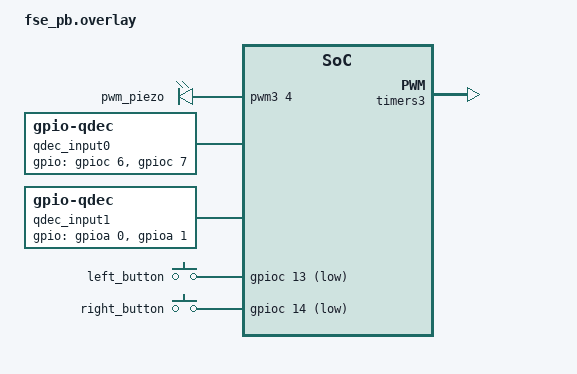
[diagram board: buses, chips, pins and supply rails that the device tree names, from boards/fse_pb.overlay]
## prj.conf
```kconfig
###############################
#           Zephyr            #
###############################
# 4096 reicht bei Arm Cortex A53 nicht
CONFIG_MAIN_STACK_SIZE=8192

CONFIG_DISPLAY=y

CONFIG_INPUT=y
CONFIG_SENSOR=y
CONFIG_GPIO=y
CONFIG_INPUT_GPIO_QDEC=y

CONFIG_SHELL=y
CONFIG_SERIAL=y
CONFIG_UART_CONSOLE=y
CONFIG_CONSOLE=y

CONFIG_PRINTK=y
CONFIG_STDOUT_CONSOLE=y

#
# Logs
#
CONFIG_LOG=y
CONFIG_LOG_DEFAULT_LEVEL=3
CONFIG_LOG_MODE_DEFERRED=y

CONFIG_DISPLAY_LOG_LEVEL_ERR=y

#
# CPU Usage Report
#
CONFIG_THREAD_RUNTIME_STATS=y
CONFIG_CPU_LOAD=y
CONFIG_CPU_LOAD_LOG_PERIODICALLY=1000

###############################
#            LVGL             #
###############################
CONFIG_LVGL=y

CONFIG_LV_Z_MEM_POOL_SIZE=32768
CONFIG_LV_Z_SHELL=y

CONFIG_LV_USE_LOG=y

#
# Widgets
# 
CONFIG_LV_USE_LABEL=y
CONFIG_LV_USE_BUTTON=y
CONFIG_LV_USE_SLIDER=y
CONFIG_LV_USE_SPAN=y

#
# Inputs
#
CONFIG_LV_Z_ENCODER_INPUT=y
CONFIG_LV_Z_KEYPAD_INPUT=y
```

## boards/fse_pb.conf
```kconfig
CONFIG_LV_Z_ENCODER_INPUT=y
CONFIG_PWM=y
```

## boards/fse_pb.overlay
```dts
#include <zephyr/dt-bindings/input/input-event-codes.h>
#include <zephyr/dt-bindings/lvgl/lvgl.h>

/ {
    aliases {
        qdec-input-left = &lvgl_encoder0;
        qdec-input-right = &lvgl_encoder1;
        keypad-left = &keypad_left;
        keypad-right = &keypad_right;
        pwm-pizeo = &pwm_piezo;
    };

    pwmleds {
		compatible = "pwm-leds";

		pwm_piezo: pwm_piezo {
			pwms = <&pwm3 4 PWM_MSEC(20) PWM_POLARITY_NORMAL>;
		};
	};

    qdec_input0: qdec-encoder0 {
        compatible = "gpio-qdec";
        gpios = <&gpioc 6 GPIO_ACTIVE_HIGH>,
                <&gpioc 7 GPIO_ACTIVE_HIGH>;
        steps-per-period = <2>;
        zephyr,axis = <INPUT_REL_WHEEL>;
        sample-time-us = <2000>;
        idle-timeout-ms = <200>;
        status = "okay";
    };

    qdec_input1: qdec-encoder1 {
        compatible = "gpio-qdec";
        gpios = <&gpioa 0 GPIO_ACTIVE_HIGH>,
                <&gpioa 1 GPIO_ACTIVE_HIGH>;
        steps-per-period = <2>;
        zephyr,axis = <INPUT_REL_HWHEEL>;
        sample-time-us = <2000>;
        idle-timeout-ms = <200>;
        status = "okay";
    };

    lvgl_encoder0: lvgl-encoder0 {
		status = "okay";
        compatible = "zephyr,lvgl-encoder-input";
        rotation-input-code = <INPUT_REL_WHEEL>;
    };

    lvgl_encoder1: lvgl-encoder1 {
		status = "okay";
        compatible = "zephyr,lvgl-encoder-input";
        rotation-input-code = <INPUT_REL_HWHEEL>;
    };

    buttons0: gpio_keys0 {
		compatible = "gpio-keys";
		left_button: button_1 {
			gpios = <&gpioc 13 GPIO_ACTIVE_LOW>;
			zephyr,code = <INPUT_KEY_ENTER>;
		};
    };

    buttons1: gpio_keys1 {
		compatible = "gpio-keys";
		right_button: button_2 {
			gpios = <&gpioc 14 GPIO_ACTIVE_LOW>;
			zephyr,code = <INPUT_KEY_ENTER>;
		};
    };

    keypad_left: keypad0 {
		compatible = "zephyr,lvgl-keypad-input";
		input = <&buttons0>;
		input-codes = <INPUT_KEY_ENTER>;
		lvgl-codes = <LV_KEY_ENTER>;
	};

    keypad_right: keypad1 {
		compatible = "zephyr,lvgl-keypad-input";
		input = <&buttons1>;
		input-codes = <INPUT_KEY_ENTER>;
		lvgl-codes = <LV_KEY_ENTER>;
	};
};

&timers3 {
	status = "okay";

	pwm3: pwm {
		status = "okay";
		pinctrl-0 = <&tim3_ch4_pb1>;
		pinctrl-names = "default";
	};
};
```

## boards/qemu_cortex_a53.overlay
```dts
/ {
    ramfb0: ramfb {
		width = <480>;
		height = <320>;
	};
};
```

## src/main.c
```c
/**
 * @file
 * @brief       <Short one-line description of this file's purpose>
 *
 * @details     <Optional extended description. Explain the module's role,
 *              any important design decisions, or usage notes.>
 *
 * @author      Mario Wegmann <mario.wegmann@web.de>
 * @date        Created: 2026-05-20
 *
 * @copyright   Copyright (c) 2026 Mario Wegmann
 *              SPDX-License-Identifier: Apache-2.0
 *
 * @note        Target RTOS : Zephyr RTOS (https://zephyrproject.org)
 *              UI Library  : LVGL (https://lvgl.io)
 */

/* ── Corresponding Header ────────────────────────────────────────────────────────────────────── */
 
/* ── Zephyr Includes ─────────────────────────────────────────────────────────────────────────── */
#include <zephyr/kernel.h>
#include <zephyr/device.h>
#include <zephyr/devicetree.h>
#include <zephyr/drivers/pwm.h>
#include <zephyr/drivers/display.h>
#include <zephyr/logging/log.h>
 
/* ── LVGL Include ────────────────────────────────────────────────────────────────────────────── */
#include <lvgl.h>
#include <lvgl_input_device.h>
 
/* ── Standard Includes ───────────────────────────────────────────────────────────────────────── */
#include <stdio.h>

/* ── Zephyr Logging ──────────────────────────────────────────────────────────────────────────── */
LOG_MODULE_REGISTER(app, CONFIG_LOG_DEFAULT_LEVEL);
 
/* ── Private Macros & Constants ──────────────────────────────────────────────────────────────── */
 
#define MAX_PERIOD PWM_SEC(1U)  / 1400U
 
/* ── Private Type Definitions ────────────────────────────────────────────────────────────────── */
 
typedef enum {
    SLIDER_LEFT,
    SLIDER_RIGHT
} slider_id_t;

typedef enum {
    BUTTON_LEFT,
    BUTTON_RIGHT
} button_id_t;
 
/* ── Private Variables ───────────────────────────────────────────────────────────────────────── */
 
#ifdef CONFIG_LV_Z_ENCODER_INPUT
static const struct device *lvgl_encoder_left = DEVICE_DT_GET(DT_ALIAS(qdec_input_left));
static const struct device *lvgl_encoder_right = DEVICE_DT_GET(DT_ALIAS(qdec_input_right));
#endif /* CONFIG_LV_Z_ENCODER_INPUT */

#ifdef CONFIG_LV_Z_KEYPAD_INPUT
static const struct device *lvgl_keypad_left = DEVICE_DT_GET(DT_ALIAS(keypad_left));
static const struct device *lvgl_keypad_right = DEVICE_DT_GET(DT_ALIAS(keypad_right));
#endif /* CONFIG_LV_Z_KEYPAD_INPUT */

#ifdef CONFIG_PWM
static const struct pwm_dt_spec pwm_pizeo = PWM_DT_SPEC_GET(DT_ALIAS(pwm_pizeo));
#endif /* CONFIG_PWM */

static lv_obj_t * sliderLeftSpan;
static lv_obj_t * sliderRightSpan;

static lv_obj_t * buttonLeftValueLabel;
static lv_obj_t * buttonRightValueLabel;
 
/* ── Private Function Prototypes ─────────────────────────────────────────────────────────────── */
 
static void slider_event_cb(lv_event_t * e);
static void button_event_cb(lv_event_t * e);
 
/* ── Private Function Implementations ───────────────────────────────────────────────────────── */
 
static void build_header() {
    lv_obj_t * header;
    header = lv_obj_create(lv_screen_active());
    lv_obj_set_size(header, 100, 50);
    lv_obj_align(header, LV_ALIGN_TOP_LEFT, 0, 0);
    lv_obj_set_height(header, lv_pct(15));
    lv_obj_set_width(header, lv_pct(100));
    lv_obj_clear_flag(header, LV_OBJ_FLAG_SCROLLABLE);

    lv_obj_t *title = lv_label_create(header);
    lv_label_set_text(title, "RTD");
    lv_obj_align(title, LV_ALIGN_LEFT_MID, 10, 0);
}

static void build_sliders() {
    lv_obj_t * sliderLeft = lv_slider_create(lv_screen_active());
    lv_obj_set_size(sliderLeft, 40, 200);
    lv_obj_set_pos(sliderLeft, 10, 70);
    lv_obj_add_event_cb(sliderLeft, slider_event_cb, LV_EVENT_VALUE_CHANGED, (void *)SLIDER_LEFT);

    lv_obj_t * sliderLeft_Titlelabel = lv_label_create(lv_screen_active());
    lv_label_set_text(sliderLeft_Titlelabel, "TQG F");
    lv_obj_align_to(sliderLeft_Titlelabel, sliderLeft, LV_ALIGN_OUT_TOP_MID, 0, 0);

    sliderLeftSpan = lv_spangroup_create(lv_screen_active());

    lv_obj_set_width(sliderLeftSpan, 60);
    lv_obj_set_height(sliderLeftSpan, 60);
    lv_obj_set_style_text_align(sliderLeftSpan, LV_TEXT_ALIGN_CENTER, LV_PART_MAIN);

    lv_obj_align_to(sliderLeftSpan, sliderLeft, LV_ALIGN_OUT_BOTTOM_MID, 0, 5);

    lv_span_t * spanL1 = lv_spangroup_new_span(sliderLeftSpan);
    lv_span_set_text(spanL1, "0");

    lv_span_t * spanL2 = lv_spangroup_new_span(sliderLeftSpan);
    lv_span_set_text(spanL2, "%");

    #ifdef CONFIG_LV_Z_ENCODER_INPUT
    lv_group_t *sliderLeft_group;
    sliderLeft_group = lv_group_create();
	lv_group_add_obj(sliderLeft_group, sliderLeft);
	lv_indev_set_group(lvgl_input_get_indev(lvgl_encoder_left), sliderLeft_group);
    lv_group_set_editing(sliderLeft_group, true);
    #endif

    lv_obj_t * sliderRight = lv_slider_create(lv_screen_active());
    lv_obj_set_size(sliderRight, 40, 200);
    lv_obj_set_pos(sliderRight, 430, 70);
    lv_obj_add_event_cb(sliderRight, slider_event_cb, LV_EVENT_VALUE_CHANGED, (void *)SLIDER_RIGHT);

    lv_obj_t * sliderRight_Titlelabel = lv_label_create(lv_screen_active());
    lv_label_set_text(sliderRight_Titlelabel, "TQG R");
    lv_obj_align_to(sliderRight_Titlelabel, sliderRight, LV_ALIGN_OUT_TOP_MID, 0, 0);

    sliderRightSpan = lv_spangroup_create(lv_screen_active());

    lv_obj_set_width(sliderRightSpan, 60);
    lv_obj_set_height(sliderRightSpan, 60);
    lv_obj_set_style_text_align(sliderRightSpan, LV_TEXT_ALIGN_CENTER, LV_PART_MAIN);

    lv_obj_align_to(sliderRightSpan, sliderRight, LV_ALIGN_OUT_BOTTOM_MID, 0, 5);

    lv_span_t * spanR1 = lv_spangroup_new_span(sliderRightSpan);
    lv_span_set_text(spanR1, "0");

    lv_span_t * spanR2 = lv_spangroup_new_span(sliderRightSpan);
    lv_span_set_text(spanR2, "%");

    #ifdef CONFIG_LV_Z_ENCODER_INPUT
    lv_group_t *sliderRight_group;
    sliderRight_group = lv_group_create();
	lv_group_add_obj(sliderRight_group, sliderRight);
	lv_indev_set_group(lvgl_input_get_indev(lvgl_encoder_right), sliderRight_group);
    lv_group_set_editing(sliderRight_group, true);
    #endif
}

static void slider_event_cb(lv_event_t * e) {
    lv_obj_t * slider = lv_event_get_target_obj(e);
    
    slider_id_t id = (slider_id_t)(uintptr_t)lv_event_get_user_data(e);

    int32_t value = lv_slider_get_value(slider);

    char buf[8];
    lv_snprintf(buf, sizeof(buf), "%d", value);

    lv_span_t * span;

    switch(id) {
        case SLIDER_LEFT:
            span = lv_spangroup_get_child(sliderLeftSpan, 0);
            lv_span_set_text(span, buf);
            lv_spangroup_refresh(sliderLeftSpan);
            break;
        case SLIDER_RIGHT:
            span = lv_spangroup_get_child(sliderRightSpan, 0);
            lv_span_set_text(span, buf);
            lv_spangroup_refresh(sliderRightSpan);
            break;
        default:
            break;
    }
}

static void build_buttons() {
    lv_obj_t * label1;

    lv_obj_t * btn1 = lv_button_create(lv_screen_active());
    lv_obj_set_size(btn1, 140, 50);
    lv_obj_align(btn1, LV_ALIGN_BOTTOM_MID, -80, 0);
    lv_obj_add_flag(btn1, LV_OBJ_FLAG_CHECKABLE);
    lv_obj_add_event_cb(btn1, button_event_cb, LV_EVENT_VALUE_CHANGED, (void *)BUTTON_LEFT);

    label1 = lv_label_create(btn1);
    lv_label_set_text(label1, "PWR Limit");
    lv_obj_align(label1, LV_ALIGN_TOP_LEFT, 0, 0);

    buttonLeftValueLabel = lv_label_create(btn1);
    lv_label_set_text(buttonLeftValueLabel, "OFF");
    lv_obj_align(buttonLeftValueLabel, LV_ALIGN_BOTTOM_LEFT, 0, 8);

    #ifdef CONFIG_LV_Z_KEYPAD_INPUT
        lv_group_t * btn1_group = lv_group_create();
        lv_group_add_obj(btn1_group, btn1);
        lv_indev_set_group(lvgl_input_get_indev(lvgl_keypad_left), btn1_group);
    #endif /* CONFIG_LV_Z_KEYPAD_INPUT */

    lv_obj_t * label2;

    lv_obj_t * btn2 = lv_button_create(lv_screen_active());
    lv_obj_set_size(btn2, 140, 50);
    lv_obj_align(btn2, LV_ALIGN_BOTTOM_MID, 80, 0);
    lv_obj_add_flag(btn2, LV_OBJ_FLAG_CHECKABLE);
    lv_obj_add_event_cb(btn2, button_event_cb, LV_EVENT_VALUE_CHANGED, (void *)BUTTON_RIGHT);

    label2 = lv_label_create(btn2);
    lv_label_set_text(label2, "TQV");
    lv_obj_align(label2, LV_ALIGN_TOP_LEFT, 0, 0);

    buttonRightValueLabel = lv_label_create(btn2);
    lv_label_set_text(buttonRightValueLabel, "OFF");
    lv_obj_align(buttonRightValueLabel, LV_ALIGN_BOTTOM_LEFT, 0, 8);

    #ifdef CONFIG_LV_Z_KEYPAD_INPUT
        lv_group_t * btn2_group = lv_group_create();
        lv_group_add_obj(btn2_group, btn2);
        lv_indev_set_group(lvgl_input_get_indev(lvgl_keypad_right), btn2_group);
    #endif /* CONFIG_LV_Z_KEYPAD_INPUT */
}

static void button_event_cb(lv_event_t * e) {
    lv_obj_t * button = lv_event_get_target_obj(e);
    button_id_t id = (button_id_t)(uintptr_t)lv_event_get_user_data(e);

    switch(id) {
        case BUTTON_LEFT:
            if (lv_obj_has_state(button, LV_STATE_CHECKED) == true) {
                lv_label_set_text(buttonLeftValueLabel, "ON");
            } else {
                lv_label_set_text(buttonLeftValueLabel, "OFF");
            }
            break;
        case BUTTON_RIGHT:
            if (lv_obj_has_state(button, LV_STATE_CHECKED) == true) {
                lv_label_set_text(buttonRightValueLabel, "ON");
            } else {
                lv_label_set_text(buttonRightValueLabel, "OFF");
            }
            break;
        default:
            break;
    }
}

/* ── Public Function Implementations ─────────────────────────────────────────────────────────── */
 
int main(void)
{
    const struct device *display_dev;
    int ret;

    display_dev = DEVICE_DT_GET(DT_CHOSEN(zephyr_display));
    if (!device_is_ready(display_dev)) {
        LOG_ERR("Display device not ready");
        return 0;
    }

    lv_obj_t *scr = lv_screen_active();
    lv_obj_clear_flag(scr, LV_OBJ_FLAG_SCROLLABLE);

    build_header();
    build_sliders();
    build_buttons();

    lv_timer_handler();

    ret = display_blanking_off(display_dev);
    if (ret < 0 && ret != -ENOSYS) {
        LOG_ERR("Failed to disable blanking (err %d)", ret);
        return 0;
    }
    #ifdef CONFIG_PWM
        if (!pwm_is_ready_dt(&pwm_pizeo)) {
            printk("Error: PWM device %s is not ready\n",
                pwm_pizeo.dev->name);
            return 0;
        }

        uint32_t period = MAX_PERIOD;

        pwm_set_dt(&pwm_pizeo, period, period / 2U);
    #endif /* CONFIG_PWM */ 

    while (1) {
        lv_timer_handler();
        k_sleep(K_MSEC(10));
    }

    return 0;
}
```
